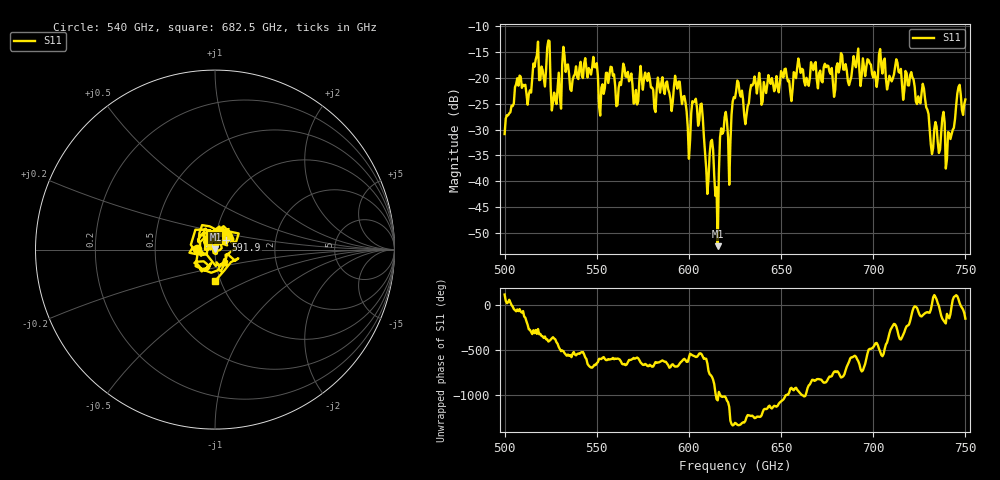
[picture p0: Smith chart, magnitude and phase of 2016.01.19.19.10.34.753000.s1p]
!Created with skrf (http://scikit-rf.org).
# GHz S RI R 50.0
!freq ReS11 ImS11
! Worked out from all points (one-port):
!   401 points, 500 GHz to 750 GHz, reference 50 ohm
!   lowest |S11| = -52.6 dB at 615.6 GHz (marker M1), VSWR 1.00, Z = 50.2 + j0.0612 ohm
!   |S11| at or under -10 dB: start of sweep to end of sweep
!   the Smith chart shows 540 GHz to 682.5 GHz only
!   S11 on the Smith chart (normalised r, x): 540 GHz: 0.82, +0.00; 591.9 GHz: 1.13, +0.12; 682.5 GHz: 0.94, -0.34
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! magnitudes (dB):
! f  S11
! 500 GHz  -30.9
! 507.5 GHz  -21.5
! 513.1 GHz  -23.2
! 516.9 GHz  -16.4
! 523.8 GHz  -12.7
! 526.9 GHz  -22.8
! 531.2 GHz  -17.4
! 540 GHz  -20.2
! 562.5 GHz  -20.8
! 591.9 GHz  -21.7
! 593.8 GHz  -22.1
! 600 GHz  -35.6
! 606.9 GHz  -25.0
! 609.4 GHz  -37.5
! 612.5 GHz  -32.0
! 615.6 GHz  -52.6
! 618.1 GHz  -30.8
! 621.9 GHz  -40.7
! 625 GHz  -23.9
! 656.2 GHz  -22.2
! 682.5 GHz  -15.2
! 687.5 GHz  -20.6
! 718.8 GHz  -21.4
! 727.5 GHz  -22.0
! 731.9 GHz  -34.7
! 740.6 GHz  -30.5
! 746.2 GHz  -21.8
! 750 GHz  -24.2
